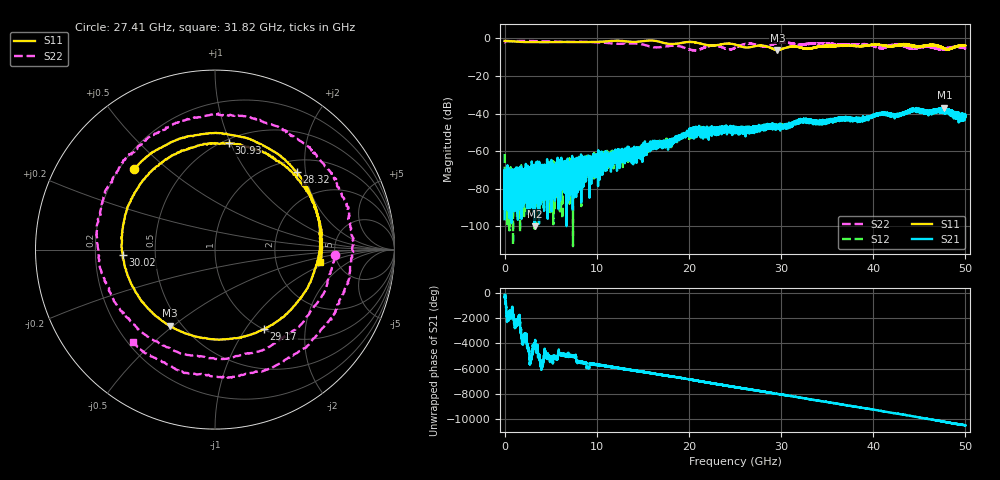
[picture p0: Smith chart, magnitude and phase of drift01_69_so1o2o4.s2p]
!Created with skrf (http://scikit-rf.org).
# Hz S RI R 50.0
!freq ReS11 ImS11 ReS21 ImS21 ReS12 ImS12 ReS22 ImS22
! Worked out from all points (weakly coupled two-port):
!   10001 points, 300 kHz to 50 GHz, reference 50 ohm
!   highest |S21| = -36.90 dB at 47.73 GHz (marker M1); lowest = -100.1 dB at 3.255 GHz (marker M2)
!   lowest |S11| = -6.2 dB at 29.61 GHz (marker M3), VSWR 2.94, Z = 21.8 - j24.4 ohm
!   |S11| at or under -10 dB: nowhere
!   |S22| runs from -6.4 to -1.4 dB; largest |S21 - S12| = 0.0034
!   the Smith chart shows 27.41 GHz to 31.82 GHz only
!   S11 on the Smith chart (normalised r, x): 27.41 GHz: 0.26, +0.39; 28.32 GHz: 1.26, +1.79; 29.17 GHz: 1.00, -1.22; 30.02 GHz: 0.32, -0.03; 30.93 GHz: 0.53, +0.99; 31.82 GHz: 3.73, -0.76
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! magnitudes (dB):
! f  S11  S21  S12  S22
! 300 kHz  -1.3  -96.3  -61.7  -2.1
! 265.3 MHz  -1.4  -75.2  -82.8  -1.4
! 3.255 GHz  -2.0  -100.1  -70.3  -1.4
! 5.07 GHz  -2.1  -66.4  -75.3  -1.6
! 8.335 GHz  -2.0  -66.9  -71.0  -1.8
! 10.65 GHz  -1.7  -65.4  -65.6  -2.3
! 13.85 GHz  -1.8  -62.0  -61.3  -2.7
! 16.67 GHz  -1.6  -56.9  -56.4  -4.8
! 20.27 GHz  -1.9  -49.1  -50.6  -6.1
! 22.62 GHz  -3.8  -50.1  -49.5  -3.8
! 25 GHz  -3.3  -50.5  -48.7  -5.0
! 27.41 GHz  -3.9  -48.0  -47.7  -3.5
! 28.32 GHz  -4.1  -47.2  -48.0  -4.3
! 29.17 GHz  -5.7  -46.9  -47.3  -3.0
! 29.61 GHz  -6.2  -46.6  -47.1  -2.6
! 30.02 GHz  -5.8  -47.3  -47.4  -2.3
! 30.93 GHz  -4.4  -45.5  -45.8  -2.5
! 31.82 GHz  -4.6  -44.2  -44.5  -3.2
! 33.34 GHz  -5.2  -43.8  -44.3  -2.7
! 41.67 GHz  -4.3  -40.6  -40.6  -3.9
! 47.73 GHz  -5.3  -36.9  -37.9  -5.5
! 50 GHz  -3.8  -41.5  -40.4  -5.2
